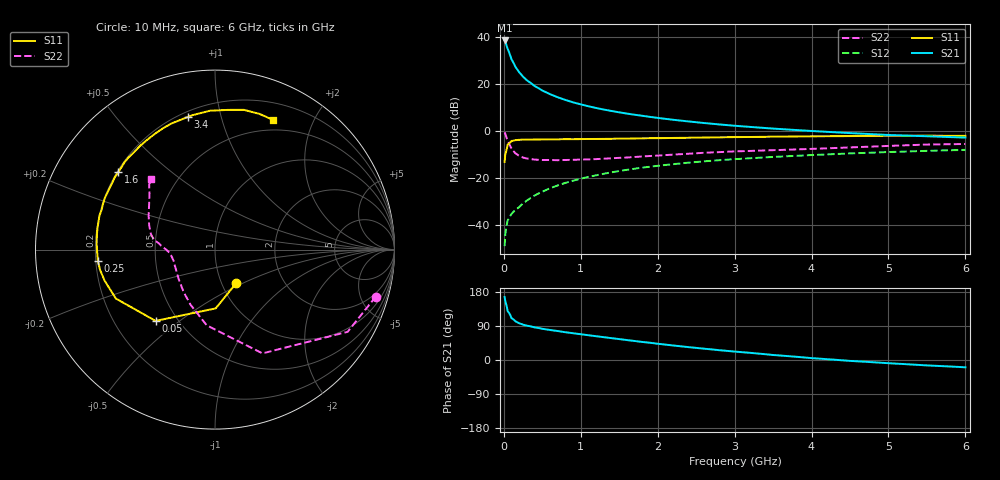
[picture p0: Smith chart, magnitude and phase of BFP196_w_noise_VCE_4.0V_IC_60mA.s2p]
! Infineon Technologies  Discrete & RF Semiconductors
! BFP196
! VCE =  4.0 V,  IC =  60 mA
! Common Emitter S-Parameters:  Jan 2017
# GHz  S  MA  R  50
!  f  S11  S21  S12  S22
! GHz  MAG  ANG  MAG  ANG  MAG  ANG  MAG  ANG
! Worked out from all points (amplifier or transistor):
!   77 points, 10 MHz to 6 GHz, reference 50 ohm
!   highest |S21| = 38.7 dB at 10 MHz (marker M1)
!   |S21| within 3 dB of that: start of sweep to 43.32 MHz
!   unconditionally stable (mu >= 1): 485.2 MHz to 2.498 GHz
!   at 130 MHz: K = 0.68, MSG = 31.6 dB, |S12| = -34.3 dB
!   at 2.2 GHz: K = 1.01, MAG = 8.8 dB, |S12| = -14.1 dB
!   at 6 GHz: K = 0.96, MSG = 2.6 dB, |S12| = -8.0 dB
!   lowest NFmin = 1.56 dB at 450 MHz
!   S11 on the Smith chart (normalised r, x): 10 MHz: 1.17, -0.46; 50 MHz: 0.38, -0.41; 250 MHz: 0.21, -0.05; 1.6 GHz: 0.21, +0.34; 3.4 GHz: 0.23, +0.79; 6 GHz: 0.38, +1.47
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0.01  0.2211 -57.9  85.67 166.2  0.0035 79.8  0.9331 -16.3
0.02  0.3275 -89.3  80.54 153.9  0.0065 72.3  0.8695 -31.8
0.05  0.5171 -129.8  56.35 128.7  0.0124 57.6  0.636 -65.4
0.1  0.6159 -153.7  33.9 110.3  0.017 54.2  0.4241 -96.3
0.15  0.6387 -164.2  23.54 102.2  0.0209 57.9  0.3356 -114.0
0.2  0.6504 -170.0  17.94 97.0  0.0238 60.1  0.295 -126.2
0.25  0.6554 -174.5  14.44 93.2  0.0288 61.2  0.2719 -134.7
0.3  0.6562 -177.6  12.09 90.6  0.033 64.4  0.2596 -141.6
0.4  0.6598 177.5  9.148 86.1  0.0421 67.9  0.2463 -150.6
0.5  0.6629 173.3  7.322 82.4  0.0508 67.2  0.2416 -156.7
0.6  0.6656 169.8  6.133 79.2  0.0603 68.0  0.2408 -161.5
0.7  0.667 166.8  5.26 76.4  0.0692 68.0  0.2391 -165.1
0.9  0.6694 160.6  4.098 70.6  0.0873 66.7  0.2433 -169.8
1.1  0.6779 154.8  3.38 65.4  0.1054 64.5  0.2491 -173.7
1.3  0.6804 149.3  2.874 60.2  0.1228 62.3  0.2569 -176.6
1.6  0.6902 141.3  2.36 52.6  0.149 58.5  0.2726 179.9
2.1  0.708 128.3  1.823 40.7  0.1889 51.4  0.3071 174.8
3.1  0.7449 107.2  1.261 20.6  0.257 37.5  0.3723 164.9
3.4  0.7543 101.7  1.16 15.2  0.2744 33.8  0.3859 161.0
4.1  0.7747 90.6  0.983 3.6  0.3125 25.2  0.4222 151.0
5.1  0.7944 77.0  0.814 -9.6  0.3607 13.5  0.4886 138.4
6  0.792 66.0  0.725 -19.3  0.3971 3.5  0.5298 131.9
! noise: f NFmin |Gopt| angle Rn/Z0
0.45  1.56  0.41  -174  0.06
0.9  1.72  0.48  -162  0.08
1.9  2.54  0.68  -132  0.35
2.4  2.93  0.7  -119  0.72
